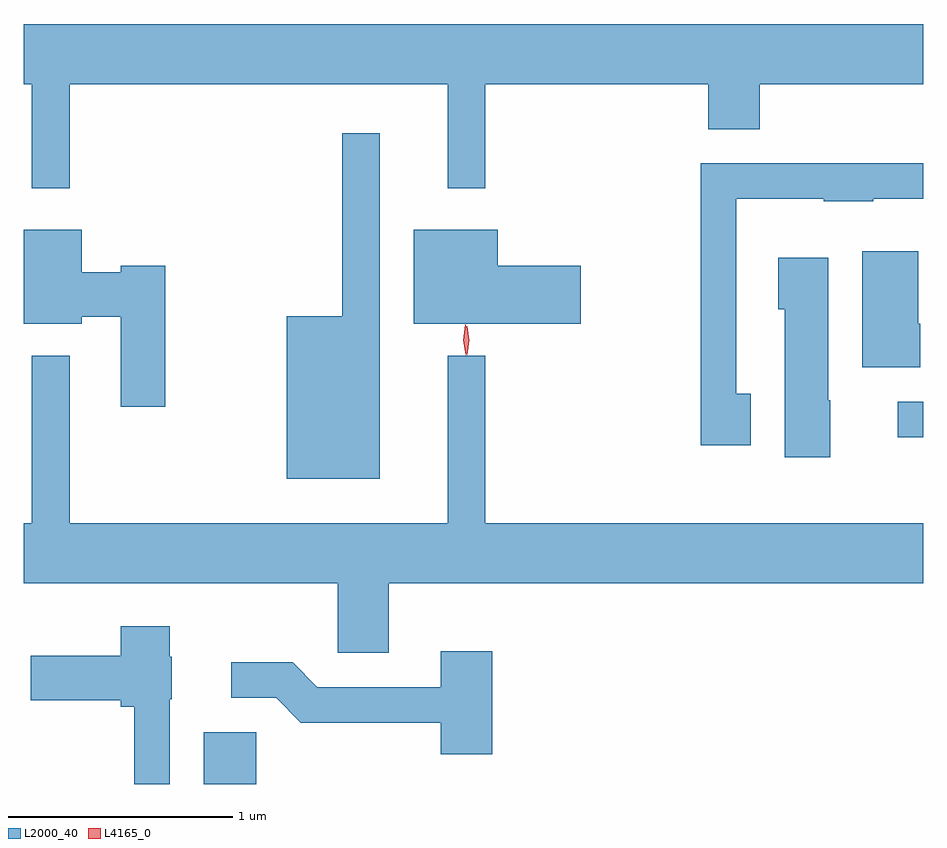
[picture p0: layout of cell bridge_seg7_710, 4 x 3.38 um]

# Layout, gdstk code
import gdstk
lib = gdstk.Library(unit=1e-6, precision=1e-09)
def R(c, l, rs):  # rectangles x0, y0, x1, y1
    for r in rs: c.add(gdstk.rectangle(r[:2], r[2:], *l))
def P(c, l, *ps):  # polygons
    for p in ps: c.add(gdstk.Polygon(p, *l))
L2000_40 = (2000, 40)
L4165_0 = (4165, 0)

bridge_seg7_710 = lib.new_cell('bridge_seg7_710')
R(bridge_seg7_710, L2000_40, [(522.026,1766.703,522.259,1766.934), (525.113,1768.246,525.226,1768.404)])
P(bridge_seg7_710, L2000_40, [(521.429,1769.816),(523.111,1769.816),(523.111,1769.353),(523.279,1769.353),(523.279,1769.816),(524.271,1769.816),(524.271,1769.616),(524.499,1769.616),(524.499,1769.816),(525.226,1769.816),(525.226,1770.084),(521.226,1770.084),(521.226,1769.816),(521.261,1769.816),(521.261,1769.353),(521.429,1769.353)],
  [(522.809,1769.598),(522.641,1769.598),(522.641,1768.784),(522.396,1768.784),(522.396,1768.061),(522.809,1768.061)],
  [(524.459,1768.439),(524.394,1768.439),(524.394,1769.306),(524.785,1769.306),(524.785,1769.296),(525.005,1769.296),(525.005,1769.306),(525.226,1769.306),(525.226,1769.464),(524.236,1769.464),(524.236,1768.211),(524.459,1768.211)],
  [(523.704,1769.009),(523.334,1769.009),(523.334,1769.169),(522.961,1769.169),(522.961,1768.751),(523.704,1768.751)],
  [(521.854,1769.009),(521.656,1769.009),(521.656,1768.979),(521.484,1768.979),(521.484,1769.169),(521.226,1769.169),(521.226,1768.751),(521.484,1768.751),(521.484,1768.781),(521.656,1768.781),(521.656,1768.381),(521.854,1768.381)],
  [(525.214,1768.75),(525.204,1768.75),(525.204,1769.074),(524.956,1769.074),(524.956,1768.556),(525.214,1768.556)],
  [(524.814,1768.41),(524.804,1768.41),(524.804,1769.044),(524.581,1769.044),(524.581,1768.816),(524.611,1768.816),(524.611,1768.156),(524.814,1768.156)],
  [(522.849,1767.596),(525.226,1767.596),(525.226,1767.864),(523.279,1767.864),(523.279,1768.608),(523.111,1768.608),(523.111,1767.864),(521.429,1767.864),(521.429,1768.608),(521.261,1768.608),(521.261,1767.864),(521.226,1767.864),(521.226,1767.596),(522.621,1767.596),(522.621,1767.286),(522.849,1767.286)],
  [(521.874,1767.08),(521.884,1767.08),(521.884,1767.27),(521.874,1767.27),(521.874,1767.404),(521.656,1767.404),(521.656,1767.274),(521.256,1767.274),(521.256,1767.076),(521.656,1767.076),(521.656,1767.046),(521.716,1767.046),(521.716,1766.703),(521.874,1766.703)],
  [(523.309,1767.294),(523.081,1767.294),(523.081,1767.134),(522.532,1767.134),(522.422,1767.244),(522.148,1767.244),(522.148,1767.086),(522.349,1767.086),(522.458,1766.976),(523.081,1766.976),(523.081,1766.836),(523.309,1766.836)])
P(bridge_seg7_710, L4165_0, [(523.197,1768.613),(523.197,1768.613),(523.187,1768.676),(523.197,1768.74),(523.197,1768.74),(523.198,1768.74),(523.207,1768.676),(523.198,1768.613)],
  [(523.191,1768.61),(523.181,1768.678),(523.19,1768.745),(523.191,1768.746),(523.191,1768.745),(523.201,1768.678),(523.192,1768.61),(523.192,1768.61)])

lib.write_gds('bridge_seg7_710.gds')
